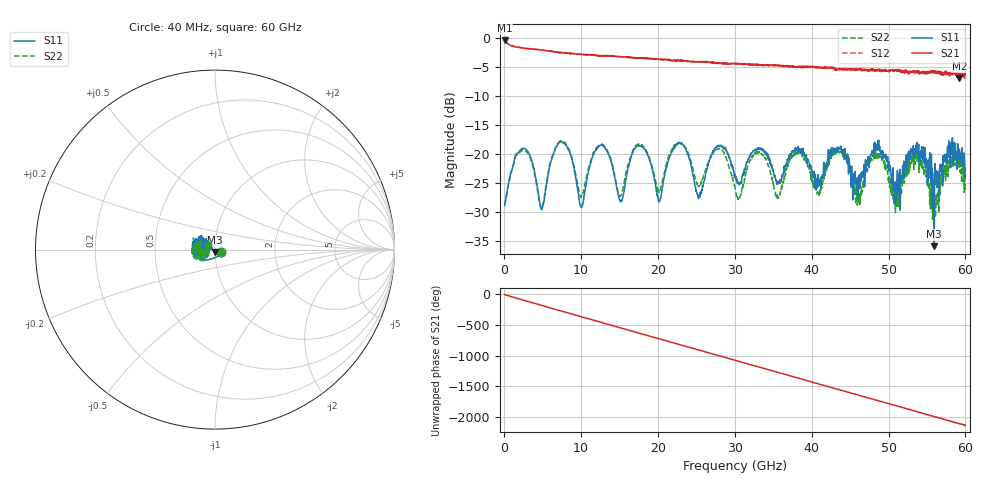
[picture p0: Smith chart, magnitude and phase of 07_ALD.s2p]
! File created by 'SoftPlot +Plus+ Measurement Management Software'
! SoftPlot +Plus+ Measurement Management Software
! Start 40.000000 MHz  Stop 60.000000 GHz  Points 1601
# MHZ S RI R 50
! S-Parameter data, F S11 S21 S12 S22
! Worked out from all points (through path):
!   1601 points, 40 MHz to 60 GHz, reference 50 ohm
!   highest |S21| = -0.39 dB at 40 MHz (marker M1); lowest = -6.9 dB at 59.21 GHz (marker M2)
!   group delay of S21, straight-line fit = 98.6 ps
!   lowest |S11| = -35.9 dB at 55.95 GHz (marker M3), VSWR 1.03, Z = 50.1 - j1.61 ohm
!   |S11| at or under -10 dB: start of sweep to end of sweep
!   |S22| runs from -31.3 to -17.7 dB; largest |S21 - S12| = 0.08
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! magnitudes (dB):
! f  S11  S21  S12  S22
! 40 MHz  -28.9  -0.4  -0.4  -28.8
! 2.513 GHz  -19.0  -1.7  -1.7  -19.2
! 4.874 GHz  -29.5  -2.0  -2.0  -29.3
! 7.423 GHz  -17.9  -2.5  -2.5  -17.7
! 10.05 GHz  -29.2  -2.8  -2.8  -27.3
! 12.59 GHz  -18.4  -3.0  -3.1  -18.2
! 15.1 GHz  -28.2  -3.2  -3.2  -27.3
! 17.54 GHz  -18.5  -3.4  -3.4  -18.3
! 20.05 GHz  -28.1  -3.6  -3.6  -26.5
! 22.79 GHz  -18.0  -3.9  -3.9  -18.1
! 25.22 GHz  -27.2  -4.1  -4.1  -25.4
! 27.77 GHz  -18.5  -4.4  -4.2  -19.0
! 30.02 GHz  -23.4  -4.3  -4.4  -25.9
! 33.02 GHz  -19.2  -4.6  -4.6  -19.6
! 35.6 GHz  -24.6  -4.7  -4.7  -27.6
! 37.81 GHz  -19.3  -5.0  -5.0  -20.2
! 40.03 GHz  -22.7  -4.9  -4.9  -24.0
! 50.03 GHz  -22.8  -5.8  -5.5  -25.0
! 53.63 GHz  -19.1  -5.8  -6.0  -20.7
! 55.95 GHz  -35.9  -5.9  -5.9  -29.5
! 59.21 GHz  -19.1  -6.9  -6.3  -20.8
! 60 GHz  -23.7  -5.8  -6.7  -26.5
